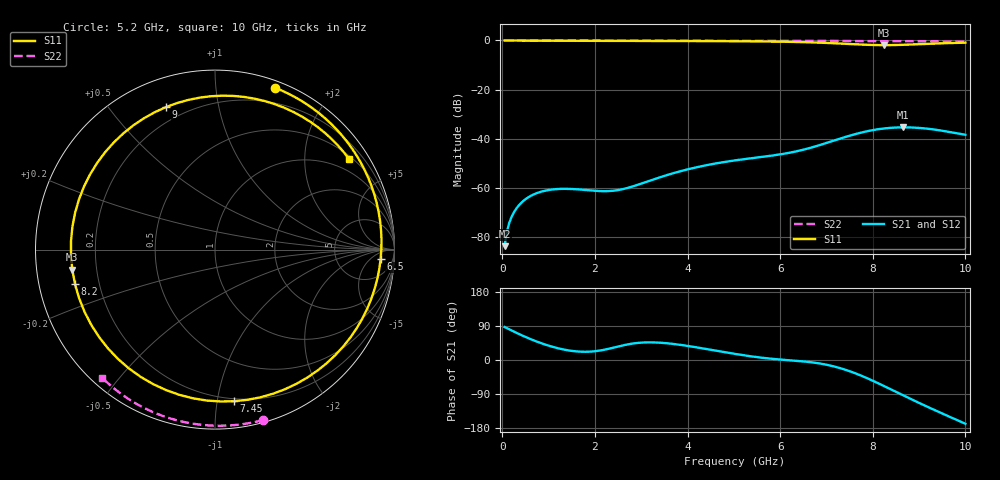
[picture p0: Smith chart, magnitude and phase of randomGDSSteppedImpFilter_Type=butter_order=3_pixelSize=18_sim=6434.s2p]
! freq	dB(S11)	phase(S11)	dB(S12)	phase(S12)
!  dB(S21)	phase(S21)	dB(S22)	phase(S22)
!S-par simulation data
#  GHz  S  DB  R 50
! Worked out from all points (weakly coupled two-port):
!   200 points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, 50 MHz to 10 GHz, reference 50 ohm
!   highest |S21| = -35.38 dB at 8.65 GHz (marker M1); lowest = -83.8 dB at 50 MHz (marker M2)
!   lowest |S11| = -1.9 dB at 8.25 GHz (marker M3), VSWR 9.15, Z = 5.49 - j3.48 ohm
!   |S11| at or under -10 dB: nowhere
!   |S22| runs from -0.4 to 0.0 dB; largest |S21 - S12| = 0
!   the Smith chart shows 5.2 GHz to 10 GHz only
!   S11 on the Smith chart (normalised r, x): 5.2 GHz: 0.06, +1.44; 6.5 GHz: 16, -12; 7.45 GHz: 0.18, -1.12; 8.2 GHz: 0.11, -0.12; 9 GHz: 0.13, +0.71; 10 GHz: 0.59, +3.19
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0.05  -0.00 -5.4  -83.75 87.0  -83.75 87.0  -0.00 -0.8
0.35  -0.05 -36.7  -67.30 69.2  -67.30 69.2  -0.01 -5.3
0.8  -0.10 -78.5  -61.79 46.1  -61.79 46.1  -0.02 -12.1
1.2  -0.13 -109.0  -60.48 31.0  -60.48 31.0  -0.02 -18.1
1.75  -0.15 -142.5  -60.81 21.8  -60.81 21.8  -0.03 -26.2
2.5  -0.18 -178.5  -60.91 35.6  -60.91 35.6  -0.05 -37.1
3.4  -0.21 144.7  -55.74 45.7  -55.74 45.7  -0.07 -49.9
4.3  -0.26 108.9  -51.20 31.2  -51.20 31.2  -0.09 -62.2
5.05  -0.32 76.6  -48.76 15.6  -48.76 15.6  -0.11 -72.2
5.2  -0.34 69.6  -48.38 12.7  -48.38 12.7  -0.12 -74.2
5.85  -0.46 36.6  -46.80 2.8  -46.80 2.8  -0.14 -82.5
6.5  -0.68 -3.4  -44.48 -3.7  -44.48 -3.7  -0.17 -90.6
6.7  -0.79 -17.6  -43.47 -6.4  -43.47 -6.4  -0.18 -93.1
7.45  -1.40 -82.8  -39.06 -27.4  -39.06 -27.4  -0.22 -102.1
7.8  -1.71 -120.2  -37.28 -43.9  -37.28 -43.9  -0.25 -106.2
8.2  -1.90 -166.2  -35.92 -66.2  -35.92 -66.2  -0.27 -110.9
8.25  -1.91 -171.9  -35.81 -69.1  -35.81 -69.1  -0.28 -111.5
8.35  -1.90 176.6  -35.63 -75.0  -35.63 -75.0  -0.29 -112.7
8.65  -1.78 143.6  -35.38 -92.8  -35.38 -92.8  -0.31 -116.1
9  -1.52 109.0  -35.61 -113.3  -35.61 -113.3  -0.34 -120.1
9.45  -1.18 71.4  -36.61 -138.4  -36.61 -138.4  -0.38 -125.2
10  -0.90 33.8  -38.39 -168.2  -38.39 -168.2  -0.44 -131.4
